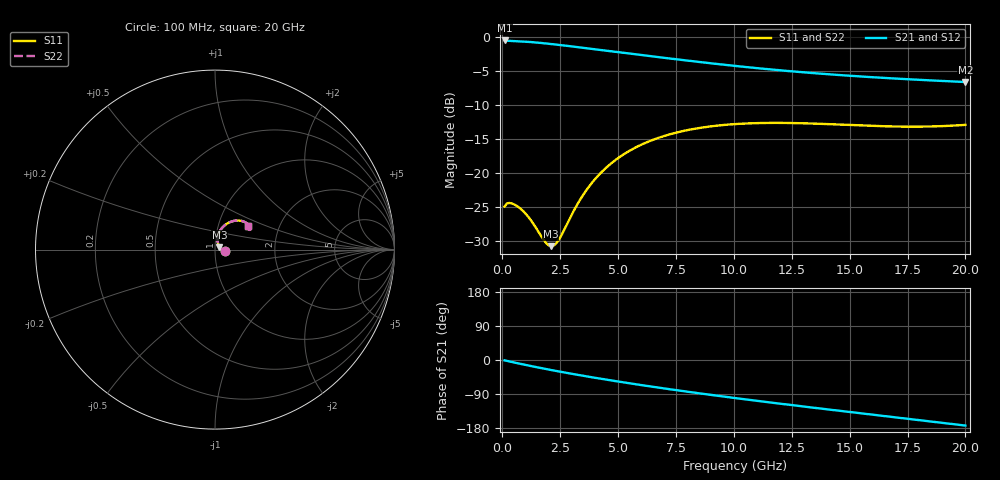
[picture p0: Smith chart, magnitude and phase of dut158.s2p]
! Created with skrf 1.9.0 (http://scikit-rf.org).
# GHz S RI R 50.0
!freq ReS11 ImS11 ReS21 ImS21 ReS12 ImS12 ReS22 ImS22
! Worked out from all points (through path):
!   200 points, 100 MHz to 20 GHz, reference 50 ohm
!   highest |S21| = -0.51 dB at 100 MHz (marker M1); lowest = -6.6 dB at 20 GHz (marker M2)
!   group delay of S21, straight-line fit = 23.1 ps
!   lowest |S11| = -30.8 dB at 2.1 GHz (marker M3), VSWR 1.06, Z = 52.5 + j1.51 ohm
!   |S11| at or under -10 dB: start of sweep to end of sweep
!   |S22| runs from -30.8 to -12.6 dB; largest |S21 - S12| = 3.1e-15
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0.1  0.0562 -0.00711  0.9433 -0.0154  0.9433 -0.0154  0.0562 -0.00711
0.2  0.0593 -0.00651  0.9386 -0.0384  0.9386 -0.0384  0.0593 -0.00651
0.3  0.0598 -0.00608  0.9356 -0.061  0.9356 -0.061  0.0598 -0.00608
0.8  0.0539 -0.00628  0.914 -0.1671  0.914 -0.1671  0.0539 -0.00628
1.2  0.0455 -0.00412  0.8859 -0.245  0.8859 -0.245  0.0455 -0.00412
1.9  0.0291 0.00871  0.8187 -0.3643  0.8187 -0.3643  0.0291 0.00871
2.1  0.025 0.0144  0.7964 -0.3942  0.7964 -0.3942  0.025 0.0144
2.4  0.02 0.0242  0.7612 -0.4355  0.7612 -0.4355  0.02 0.0242
3.1  0.0143 0.0512  0.6736 -0.5168  0.6736 -0.5168  0.0143 0.0512
3.5  0.0151 0.0675  0.6215 -0.5545  0.6215 -0.5545  0.0151 0.0675
4.1  0.0216 0.0913  0.5424 -0.6002  0.5424 -0.6002  0.0216 0.0913
4.9  0.0379 0.1189  0.4373 -0.6434  0.4373 -0.6434  0.0379 0.1189
5.8  0.0627 0.1419  0.3227 -0.6709  0.3227 -0.6709  0.0627 0.1419
6.8  0.0933 0.1568  0.203 -0.6797  0.203 -0.6797  0.0933 0.1568
8.3  0.1359 0.1616  0.0433 -0.6599  0.0433 -0.6599  0.1359 0.1616
10.1  0.173 0.15  -0.1143 -0.6009  -0.1143 -0.6009  0.173 0.15
11.7  0.191 0.1341  -0.2249 -0.5292  -0.2249 -0.5292  0.191 0.1341
13.4  0.1975 0.1193  -0.3162 -0.4416  -0.3162 -0.4416  0.1975 0.1193
15  0.1957 0.1112  -0.3805 -0.3525  -0.3805 -0.3525  0.1957 0.1112
16.7  0.1901 0.1107  -0.4283 -0.2535  -0.4283 -0.2535  0.1901 0.1107
18.3  0.1851 0.1175  -0.4546 -0.1581  -0.4546 -0.1581  0.1851 0.1175
20  0.1838 0.1309  -0.4629 -0.0567  -0.4629 -0.0567  0.1838 0.1309
